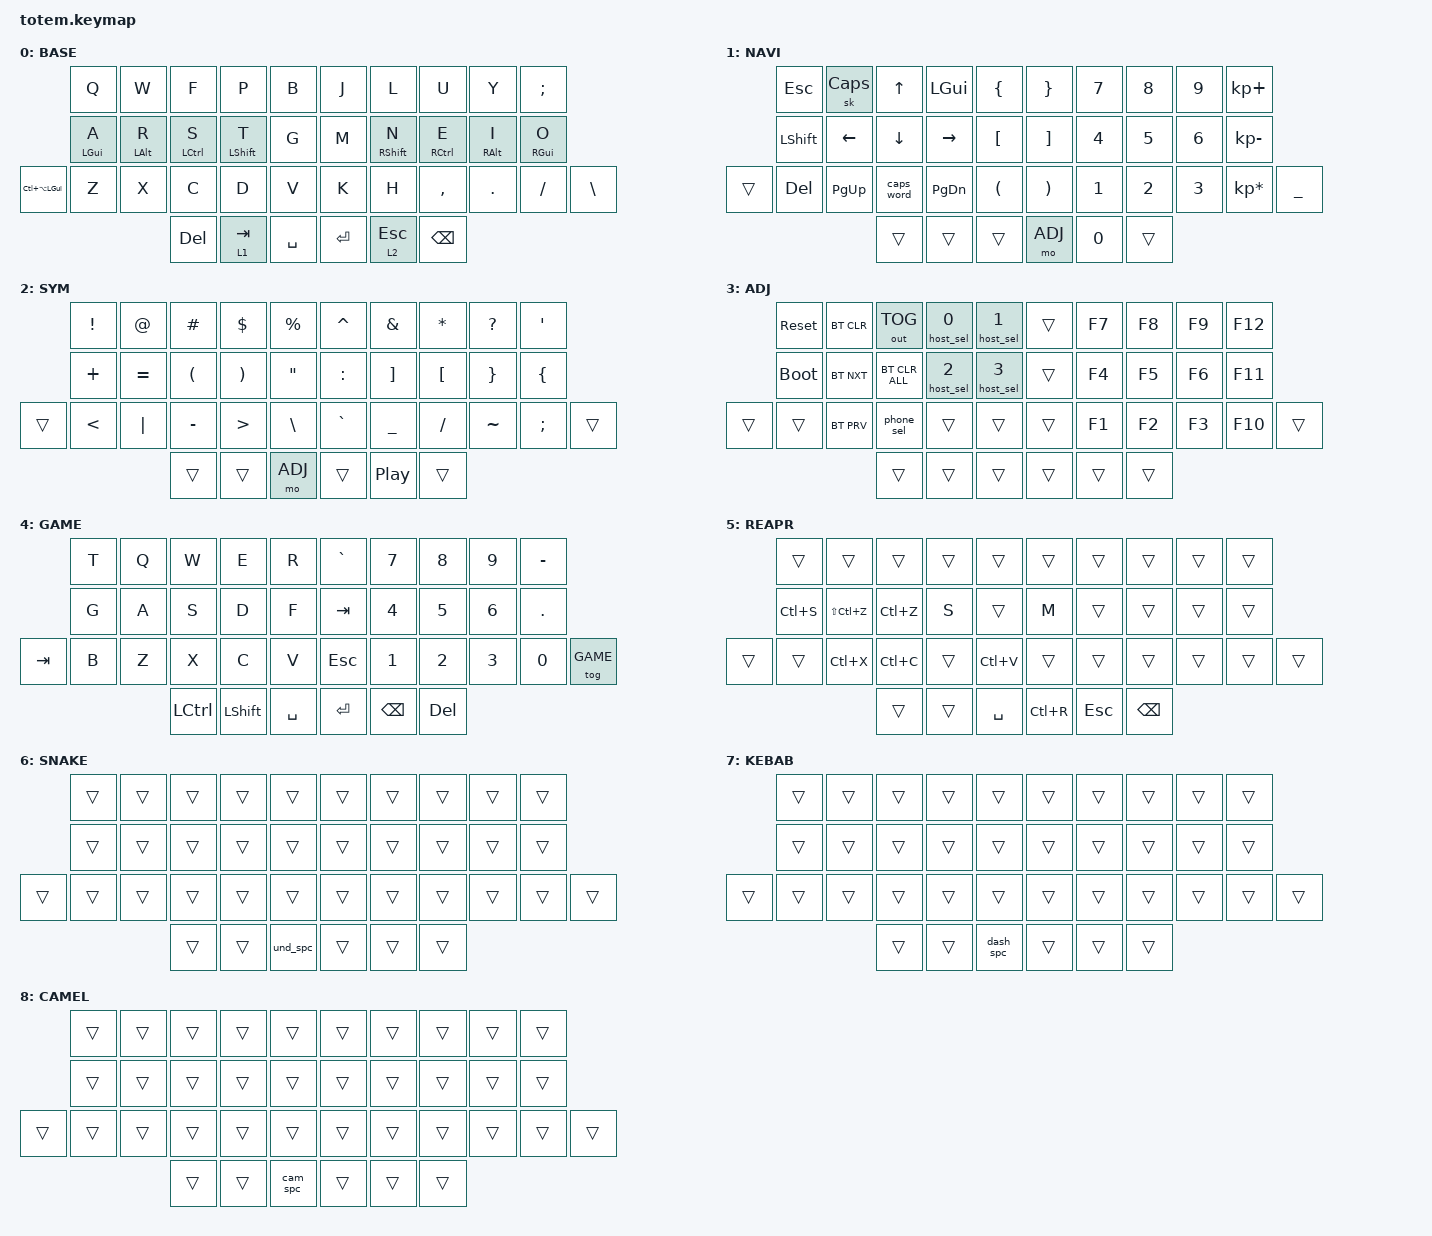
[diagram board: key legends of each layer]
//
//                                                        ▀▀▀▀▀     ▀▀▀▀▀          ▀▀█▀▀
//                                                        ▄▀▀▀▄  ▄  ▄▀▀▀▄  ▄  ▄▀▀▀▄  █  ▄▀▀▀▄
//                                                        █   █  █  █   █  █  █   █  █  █   █
//                                                         ▀▀▀   █   ▀▀▀   █   ▀▀▀   ▀   ▀▀▀
//                                                               █      ▄▄▄█▄▄▄    █   █  
//                                                               ▀      █  █  █     █▄█
//                                                             ▀▀▀▀▀    █  █  █      ▀
//                                                                      ▀  ▀  ▀
//
// ▄▄▄▄▄▄▄▄▄▄▄▄▄▄▄▄▄▄▄▄▄▄▄▄▄▄▄▄▄▄▄▄▄▄▄▄▄▄▄▄▄▄▄▄▄▄▄▄▄▄▄▄▄▄▄▄▄▄▄▄▄▄▄▄▄▄▄▄▄▄▄▄▄▄▄▄▄▄▄▄▄▄▄▄▄▄▄▄▄▄▄▄▄▄▄▄▄▄▄▄▄▄▄▄▄▄▄▄▄▄▄▄▄▄▄▄▄▄▄▄▄▄▄▄▄▄▄▄▄▄▄▄▄▄▄▄▄▄▄▄▄▄▄▄▄▄▄▄▄

#include <behaviors.dtsi>
#include <dt-bindings/zmk/bt.h>
#include <dt-bindings/zmk/keys.h>
#include <dt-bindings/zmk/outputs.h>
#include <dt-bindings/zmk/pointing.h>

#define BASE 0
#define NAV  1
#define SYM  2
#define ADJ  3
#define GAME 4
#define REAPER 5
#define SNAKE 6
#define KEBAB 7
#define CAMEL 8

// WMOD = Cmd+Ctrl+Alt held as one chord -- the macOS window-manager (AeroSpace)
// modifier. Shift is deliberately left OUT so WMOD+Shift stays a *distinct*
// combo: WMOD+n switches desktop, WMOD+Shift+n moves a window there -- the same
// super / super+shift split used on Hyprland. Cmd+Ctrl+Alt+<key> is effectively
// unused by macOS apps, unlike GUI/Cmd+number and Cmd+arrows which collide
// everywhere. Lives on the left outer pinky (base pos 20; &trans on
// NAV/SYM/ADJ so it falls through). LC/LA wrap the LGUI keycode -> Cmd+Ctrl+Alt
// all register while held. On Linux this reads as Super+Ctrl+Alt: free, and
// clear of the Ctrl+Alt+F# TTY-switch chords.
#define WMOD LC(LA(LGUI))

// Layer changes were once signalled to the desktop keymap-hud daemon in-band:
// the layer keys held F16/F17/F18 and the toggles tapped F20/F21 alongside the
// real behavior. Inert on macOS/Linux, but a host that *decodes* them turned
// every layer press into garbage (iOS/Termius renders F16 as ^P and F17 as ^Q,
// and ^Q is XON, so a stray SYM hold could freeze terminal output) -- which is
// what the PHONE override layer existed to dodge.
//
// All of that is gone. CONFIG_ZMK_BLE_LAYER_STATE (our ZMK fork) publishes the
// active/locked layer bitmasks on a GATT characteristic and the HUD reads them
// off BlueZ, so layer keys are plain &mo/&lt/&tog again and nothing leaks to
// the host. Only the HUD *toggle* still taps a key (F19, combo_hud below).
//
// Profile 4 is the phone; 0-3 are computers (see phone_sel/host_sel).
#define PHONE_PROFILE 4

&mt {
    quick-tap-ms = <100>;
    global-quick-tap;
    flavor = "tap-preferred";
    tapping-term-ms = <170>;
};

/ {
    behaviors {
        // Thumb layer-taps: tap = TAB/ESC, hold = momentary NAV/SYM. Kept as
        // explicit hold-taps rather than stock &lt so the feel stays exactly
        // where it was tuned (tap-preferred, 200ms) -- only the sentinel hold
        // that used to ride along with &mo is gone.
        lt_nav: layer_tap_nav {
            compatible = "zmk,behavior-hold-tap";
            #binding-cells = <2>;
            flavor = "tap-preferred";
            tapping-term-ms = <200>;
            bindings = <&mo>, <&kp>;
        };
        lt_sym: layer_tap_sym {
            compatible = "zmk,behavior-hold-tap";
            #binding-cells = <2>;
            flavor = "tap-preferred";
            tapping-term-ms = <200>;
            bindings = <&mo>, <&kp>;
        };

        // Case modes (zmk-auto-layer module): &smart_case <layer> turns a case
        // layer on and keeps it on only while "identifier" keys are typed --
        // alphas, digits, _ - and backspace/delete. Any other keycode (enter,
        // tab-tap, esc-tap, punctuation) drops back to BASE automatically, so
        // there is nothing to un-toggle. Holding NAV mid-identifier to type
        // digits is free now that layer keys emit no keycode at all, so the
        // mode survives it. On the case layers SPACE becomes the separator
        // (see the *_spc morphs); Shift+SPACE emits a real space, which also
        // ends the mode since SPACE is not in this list.
        smart_case: smart_case {
            compatible = "zmk,behavior-auto-layer";
            #binding-cells = <1>;
            continue-list = <UNDER MINUS BSPC DEL>;
            ignore-alphas;
            ignore-numbers;
            ignore-modifiers;
        };

        // caps_word tuned for SCREAMING_SNAKE: same continue rules as
        // smart_case (alphanumerics are implicit in caps-word) so it and the
        // snake layer always switch off on the same keypress.
        caps_snake: caps_snake {
            compatible = "zmk,behavior-caps-word";
            #binding-cells = <0>;
            continue-list = <UNDER MINUS BSPC DEL>;
        };

        // SPACE replacements for the case layers. Plain tap = the separator
        // (or a sticky shift for camelCase); with Shift held it morphs into a
        // real space, which both prints the space and exits the mode.
        und_spc: und_spc {
            compatible = "zmk,behavior-mod-morph";
            #binding-cells = <0>;
            bindings = <&kp UNDER>, <&kp SPACE>;
            mods = <(MOD_LSFT|MOD_RSFT)>;
        };
        dash_spc: dash_spc {
            compatible = "zmk,behavior-mod-morph";
            #binding-cells = <0>;
            bindings = <&kp MINUS>, <&kp SPACE>;
            mods = <(MOD_LSFT|MOD_RSFT)>;
        };
        cam_spc: cam_spc {
            compatible = "zmk,behavior-mod-morph";
            #binding-cells = <0>;
            bindings = <&sk LSHFT>, <&kp SPACE>;
            mods = <(MOD_LSFT|MOD_RSFT)>;
        };
    };

    macros {
        // Profile-select keys that also land the board back on BASE: &to BASE
        // clears a toggled GAME/REAPER, which is what you want when handing it
        // to a different machine anyway.
        phone_sel: phone_sel {
            compatible = "zmk,behavior-macro";
            #binding-cells = <0>;
            bindings = <&bt BT_SEL PHONE_PROFILE>, <&to BASE>;
        };
        // Also drops the phone's link on the way out. iOS hides the on-screen
        // keyboard for as long as *any* HID keyboard is connected, and merely
        // selecting another profile doesn't disconnect the old one -- so
        // without this the phone stays keyboard-less until you disconnect by
        // hand in Settings. BT_DISC only works on an *inactive* profile (the
        // active one reconnects immediately), hence the ordering: BT_SEL first
        // demotes the phone, then BT_DISC can take it down. Default macro
        // wait-ms (100) gives the switch time to land before the disconnect.
        host_sel: host_sel {
            compatible = "zmk,behavior-macro-one-param";
            #binding-cells = <1>;
            bindings = <&macro_param_1to2>,
                       <&macro_tap &bt BT_SEL MACRO_PLACEHOLDER>,
                       <&macro_tap &bt BT_DISC PHONE_PROFILE>,
                       <&macro_tap &to BASE>;
        };

        // Multi-character coding operators, fired from base-layer combos so they
        // don't need the SYM layer. Default 0ms macro timing is fine for &kp.
        pipe_arrow: pipe_arrow {   // |>  (Elixir pipe)
            compatible = "zmk,behavior-macro";
            #binding-cells = <0>;
            bindings = <&kp PIPE &kp GT>;
        };
        thin_arrow: thin_arrow {   // ->  (Elixir/Go)
            compatible = "zmk,behavior-macro";
            #binding-cells = <0>;
            bindings = <&kp MINUS &kp GT>;
        };
        fat_arrow: fat_arrow {     // =>  (Elixir maps)
            compatible = "zmk,behavior-macro";
            #binding-cells = <0>;
            bindings = <&kp EQUAL &kp GT>;
        };
        walrus: walrus {           // :=  (Go)
            compatible = "zmk,behavior-macro";
            #binding-cells = <0>;
            bindings = <&kp COLON &kp EQUAL>;
        };

        // SCREAMING_SNAKE = caps word + the snake layer at once. Both watch
        // the same continue-list, so one exit keypress ends both together.
        scream: scream {
            compatible = "zmk,behavior-macro";
            #binding-cells = <0>;
            bindings = <&caps_snake &smart_case SNAKE>;
        };

    };

    combos {
        compatible = "zmk,combos";

        // Mouse-click combos sit on adjacent top-row keys, which double as
        // gaming keys (W/E/R etc.), so they're scoped to everything *except*
        // GAME to avoid firing clicks mid-game.
        combo_lclk_l {
            timeout-ms = <20>;
            key-positions = <2 3>;
            bindings = <&mkp MB1>;
            layers = <BASE NAV SYM ADJ>;
        };

        combo_lclk_r {
            timeout-ms = <20>;
            key-positions = <6 7>;
            bindings = <&mkp MB1>;
            layers = <BASE NAV SYM ADJ>;
        };

        combo_rclk_l {
            timeout-ms = <20>;
            key-positions = <1 0>;
            bindings = <&mkp MB2>;
            layers = <BASE NAV SYM ADJ>;
        };

        combo_rclk_r {
            timeout-ms = <20>;
            key-positions = <8 9>;
            bindings = <&mkp MB2>;
            layers = <BASE NAV SYM ADJ>;
        };

        combo_mclk_l {
            bindings = <&mkp MB3>;
            key-positions = <2 1>;
            timeout-ms = <20>;
            layers = <BASE NAV SYM ADJ>;
        };

        combo_mclk_r {
            bindings = <&mkp MB3>;
            key-positions = <7 8>;
            timeout-ms = <20>;
            layers = <BASE NAV SYM ADJ>;
        };

        // Coding-operator combos, base layer only. Rare-letter key pairs keep
        // misfires near zero during normal typing.
        combo_pipe_arrow {   // K + H  ->  |>
            timeout-ms = <28>;
            key-positions = <26 27>;
            bindings = <&pipe_arrow>;
            layers = <0>;
        };
        combo_thin_arrow {   // , + .  ->  ->
            timeout-ms = <28>;
            key-positions = <28 29>;
            bindings = <&thin_arrow>;
            layers = <0>;
        };
        combo_walrus {       // C + D  ->  :=
            timeout-ms = <28>;
            key-positions = <23 24>;
            bindings = <&walrus>;
            layers = <0>;
        };
        combo_fat_arrow {    // Z + X  ->  =>
            timeout-ms = <28>;
            key-positions = <21 22>;
            bindings = <&fat_arrow>;
            layers = <0>;
        };

        // Case-mode chords. The two everyday modes sit on deliberate two-handed
        // inner-column pairs (like B+J for REAPER, so they never misfire); the
        // two rarer ones ride one-handed rare-letter pairs like the operator
        // combos above. Listed on the case layers too so you can jump straight
        // from one mode to another mid-identifier.
        combo_snake {        // V + K (bottom inner)  ->  snake_case
            timeout-ms = <40>;
            key-positions = <25 26>;
            bindings = <&smart_case SNAKE>;
            layers = <BASE SNAKE KEBAB CAMEL>;
        };
        combo_kebab {        // G + M (home inner)    ->  kebab-case
            timeout-ms = <40>;
            key-positions = <14 15>;
            bindings = <&smart_case KEBAB>;
            layers = <BASE SNAKE KEBAB CAMEL>;
        };
        combo_camel {        // X + C                 ->  camelCase
            timeout-ms = <28>;
            key-positions = <22 23>;
            bindings = <&smart_case CAMEL>;
            layers = <BASE SNAKE KEBAB CAMEL>;
        };
        combo_scream {       // H + ,                 ->  SCREAMING_SNAKE
            timeout-ms = <28>;
            key-positions = <27 28>;
            bindings = <&scream>;
            layers = <BASE SNAKE KEBAB CAMEL>;
        };

        // Both outer pinkies (bottom row, opposite halves) -> toggle keymap HUD.
        // Sends F19: an inert key on Linux and macOS that the host HUD listens
        // for (swallow it in your terminal: ghostty keybind = f19=ignore).
        // The last in-band HUD signal, now that layers ride BLE. No `layers`
        // restriction so it works from any layer; wide timeout since it's a
        // deliberate two-handed chord, not a roll.
        combo_hud {          // pos 20 + 31  ->  F19 (HUD toggle)
            timeout-ms = <50>;
            key-positions = <20 31>;
            bindings = <&kp F19>;
        };

        // Both top outer corners (Q + ;) -> toggle the GAME layer on/off.
        // A deliberate two-handed chord so it never misfires during one-handed
        // gaming, yet still reaches you to switch back off. No `layers`
        // restriction so it works from any layer, including GAME itself.
        combo_game {         // pos 0 + 9  ->  toggle GAME layer
            timeout-ms = <50>;
            key-positions = <0 9>;
            bindings = <&tog GAME>;
        };

        // Both inner top keys (B + J) -> toggle the REAPER app layer.
        // Two-handed and on rare-adjacent letters, so
        // it won't misfire while typing. No `layers` restriction, so the same
        // chord both enters REAPER and exits it.
        combo_reaper {       // pos 4 + 5  ->  toggle REAPER layer
            timeout-ms = <45>;
            key-positions = <4 5>;
            bindings = <&tog REAPER>;
        };
    };

    keymap {
        compatible = "zmk,keymap";

        // ▄▄▄▄▄▄▄▄▄▄▄▄▄▄▄▄▄▄▄▄▄▄▄▄▄▄▄▄▄▄▄▄▄▄▄▄▄▄▄▄▄▄▄▄▄▄▄▄▄▄▄▄▄▄▄▄▄▄▄▄▄▄▄▄▄▄▄▄▄▄▄▄▄▄▄▄▄▄▄▄▄▄▄▄▄▄▄▄▄▄▄▄▄▄▄▄▄▄▄▄▄▄▄▄▄▄▄▄▄▄▄▄▄▄▄▄▄▄▄▄▄▄▄▄▄▄▄▄▄▄▄▄▄▄▄▄▄▄▄▄▄▄▄▄▄▄▄▄▄

        base_layer {
            // ┏━━━━━━━━━━━━━━━━━━━━━━━━━━━━━━━━━━━━━━━┓

            display-name = "BASE";

            // ┗━━━━━━━━━━━━━━━━━━━━━━━━━━━━━━━━━━━━━━━┛
            //             ┏━━━━━━━━━━━┳━━━━━━━━━━━┳━━━━━━━━━━━┳━━━━━━━━━━━┳━━━━━━━━━━━┓   ┏━━━━━━━━━━━┳━━━━━━━━━━━┳━━━━━━━━━━━┳━━━━━━━━━━━┳━━━━━━━━━━━┓
            //             ┃     Q     ┃     W     ┃     F     ┃     P     ┃     B     ┃   ┃     J     ┃     L     ┃     U     ┃     Y     ┃     ;     ┃
            //             ┣━━━━━━━━━━━╋━━━━━━━━━━━╋━━━━━━━━━━━╋━━━━━━━━━━━╋━━━━━━━━━━━┫   ┣━━━━━━━━━━━╋━━━━━━━━━━━╋━━━━━━━━━━━╋━━━━━━━━━━━╋━━━━━━━━━━━┫
            //             ┃     A     ┃     R     ┃     S     ┃     T     ┃     G     ┃   ┃     M     ┃     N     ┃     E     ┃     I     ┃     O     ┃
            // ┏━━━━━━━━━━━╋━━━━━━━━━━━╋━━━━━━━━━━━╋━━━━━━━━━━━╋━━━━━━━━━━━╋━━━━━━━━━━━┫   ┣━━━━━━━━━━━╋━━━━━━━━━━━╋━━━━━━━━━━━╋━━━━━━━━━━━╋━━━━━━━━━━━╋━━━━━━━━━━━┓
            // ┃     Q     ┃     Z     ┃     X     ┃     C     ┃     D     ┃     V     ┃   ┃     K     ┃     H     ┃     ,     ┃     .     ┃     /     ┃     \     ┃
            // ┗━━━━━━━━━━━┻━━━━━━━━━━━┻━━━━━━━━━━━╋━━━━━━━━━━━╋━━━━━━━━━━━╋━━━━━━━━━━━┫   ┣━━━━━━━━━━━╋━━━━━━━━━━━╋━━━━━━━━━━━╋━━━━━━━━━━━┻━━━━━━━━━━━┻━━━━━━━━━━━┛
            //                                     ┃    DEL    ┃    TAB    ┃    SPC    ┃   ┃   ENTER   ┃           ┃   BSPC    ┃
            //                                     ┗━━━━━━━━━━━┻━━━━━━━━━━━┻━━━━━━━━━━━┛   ┗━━━━━━━━━━━┻━━━━━━━━━━━┻━━━━━━━━━━━┛

            bindings = <
              &kp Q       &kp W       &kp F        &kp P        &kp B        &kp J    &kp L        &kp U        &kp Y       &kp SEMI
              &mt LGUI A  &mt LALT R  &mt LCTRL S  &mt LSHFT T  &kp G        &kp M    &mt RSHFT N  &mt RCTRL E  &mt RALT I  &mt RGUI O
&kp WMOD      &kp Z       &kp X       &kp C        &kp D        &kp V        &kp K    &kp H        &kp COMMA    &kp DOT     &kp FSLH    &kp BSLH
                                      &kp DEL      &lt_nav 1 TAB  &kp SPACE  &kp RET  &lt_sym 2 ESC  &kp BSPC
            >;
        };

        // ▄▄▄▄▄▄▄▄▄▄▄▄▄▄▄▄▄▄▄▄▄▄▄▄▄▄▄▄▄▄▄▄▄▄▄▄▄▄▄▄▄▄▄▄▄▄▄▄▄▄▄▄▄▄▄▄▄▄▄▄▄▄▄▄▄▄▄▄▄▄▄▄▄▄▄▄▄▄▄▄▄▄▄▄▄▄▄▄▄▄▄▄▄▄▄▄▄▄▄▄▄▄▄▄▄▄▄▄▄▄▄▄▄▄▄▄▄▄▄▄▄▄▄▄▄▄▄▄▄▄▄▄▄▄▄▄▄▄▄▄▄▄▄▄▄▄▄▄▄

        nav_layer {
            // ┏━━━━━━━━━━━━━━━━━━━━━━━━━━━━━━━━━━━━━━━┓

            display-name = "NAVI";

            // ┗━━━━━━━━━━━━━━━━━━━━━━━━━━━━━━━━━━━━━━━┛
            //             ┏━━━━━━━━━━━┳━━━━━━━━━━━┳━━━━━━━━━━━┳━━━━━━━━━━━┳━━━━━━━━━━━┓   ┏━━━━━━━━━━━┳━━━━━━━━━━━┳━━━━━━━━━━━┳━━━━━━━━━━━┳━━━━━━━━━━━┓
            //             ┃    ESC    ┃    CLCK   ┃     UP    ┃   SUPER   ┃     {     ┃   ┃     }     ┃     7     ┃     8     ┃     9     ┃     +     ┃
            //             ┣━━━━━━━━━━━╋━━━━━━━━━━━╋━━━━━━━━━━━╋━━━━━━━━━━━╋━━━━━━━━━━━┫   ┣━━━━━━━━━━━╋━━━━━━━━━━━╋━━━━━━━━━━━╋━━━━━━━━━━━╋━━━━━━━━━━━┫
            //             ┃   SHIFT   ┃   LEFT    ┃    DOWN   ┃   RIGHT   ┃     [     ┃   ┃     ]     ┃     4     ┃     5     ┃     6     ┃     -     ┃
            // ┏━━━━━━━━━━━╋━━━━━━━━━━━╋━━━━━━━━━━━╋━━━━━━━━━━━╋━━━━━━━━━━━╋━━━━━━━━━━━┫   ┣━━━━━━━━━━━╋━━━━━━━━━━━╋━━━━━━━━━━━╋━━━━━━━━━━━╋━━━━━━━━━━━╋━━━━━━━━━━━┓
            // ┃           ┃    DEL    ┃    P UP   ┃   CWORD   ┃    P DN   ┃     (     ┃   ┃     )     ┃     1     ┃     2     ┃     3     ┃     *     ┃     _     ┃
            // ┗━━━━━━━━━━━┻━━━━━━━━━━━┻━━━━━━━━━━━╋━━━━━━━━━━━╋━━━━━━━━━━━╋━━━━━━━━━━━┫   ┣━━━━━━━━━━━╋━━━━━━━━━━━╋━━━━━━━━━━━╋━━━━━━━━━━━┻━━━━━━━━━━━┻━━━━━━━━━━━┛
            //                                     ┃    DEL    ┃    TAB    ┃    SPC    ┃   ┃    ADJ    ┃     0     ┃    BSPC   ┃
            //                                     ┗━━━━━━━━━━━┻━━━━━━━━━━━┻━━━━━━━━━━━┛   ┗━━━━━━━━━━━┻━━━━━━━━━━━┻━━━━━━━━━━━┛

            bindings = <
        &kp ESC    &sk CLCK   &kp UP      &kp LGUI   &kp LBRC    &kp RBRC  &kp N7     &kp N8     &kp N9     &kp KP_PLUS
        &kp LSHFT  &kp LEFT   &kp DOWN    &kp RIGHT  &kp LBKT    &kp RBKT  &kp N4     &kp N5     &kp N6     &kp KP_MINUS
&trans  &kp DEL    &kp PG_UP  &caps_word  &kp PG_DN  &kp LPAR    &kp RPAR  &kp N1     &kp N2     &kp N3     &kp KP_MULTIPLY  &kp UNDER
                              &trans      &trans     &trans      &mo ADJ   &kp N0     &trans
            >;
        };

        // ▄▄▄▄▄▄▄▄▄▄▄▄▄▄▄▄▄▄▄▄▄▄▄▄▄▄▄▄▄▄▄▄▄▄▄▄▄▄▄▄▄▄▄▄▄▄▄▄▄▄▄▄▄▄▄▄▄▄▄▄▄▄▄▄▄▄▄▄▄▄▄▄▄▄▄▄▄▄▄▄▄▄▄▄▄▄▄▄▄▄▄▄▄▄▄▄▄▄▄▄▄▄▄▄▄▄▄▄▄▄▄▄▄▄▄▄▄▄▄▄▄▄▄▄▄▄▄▄▄▄▄▄▄▄▄▄▄▄▄▄▄▄▄▄▄▄▄▄▄

        sim_layer {
            // ┏━━━━━━━━━━━━━━━━━━━━━━━━━━━━━━━━━━━━━━━┓

            display-name = "SYM";

            // ┗━━━━━━━━━━━━━━━━━━━━━━━━━━━━━━━━━━━━━━━┛
            //             ┏━━━━━━━━━━━┳━━━━━━━━━━━┳━━━━━━━━━━━┳━━━━━━━━━━━┳━━━━━━━━━━━┓   ┏━━━━━━━━━━━┳━━━━━━━━━━━┳━━━━━━━━━━━┳━━━━━━━━━━━┳━━━━━━━━━━━┓
            //             ┃     !     ┃     @     ┃     #     ┃     $     ┃     %     ┃   ┃     ˆ     ┃     &     ┃     *     ┃     ?     ┃     '     ┃
            //             ┣━━━━━━━━━━━╋━━━━━━━━━━━╋━━━━━━━━━━━╋━━━━━━━━━━━╋━━━━━━━━━━━┫   ┣━━━━━━━━━━━╋━━━━━━━━━━━╋━━━━━━━━━━━╋━━━━━━━━━━━╋━━━━━━━━━━━┫
            //             ┃     +     ┃     =     ┃     (     ┃     )     ┃     "     ┃   ┃     :     ┃     ]     ┃     [     ┃     }     ┃     {     ┃
            // ┏━━━━━━━━━━━╋━━━━━━━━━━━╋━━━━━━━━━━━╋━━━━━━━━━━━╋━━━━━━━━━━━╋━━━━━━━━━━━┫   ┣━━━━━━━━━━━╋━━━━━━━━━━━╋━━━━━━━━━━━╋━━━━━━━━━━━╋━━━━━━━━━━━╋━━━━━━━━━━━┓
            // ┃           ┃     <     ┃     |     ┃     -     ┃     >     ┃     \     ┃   ┃     `     ┃     _     ┃     /     ┃     ~     ┃     ;     ┃           ┃
            // ┗━━━━━━━━━━━┻━━━━━━━━━━━┻━━━━━━━━━━━╋━━━━━━━━━━━╋━━━━━━━━━━━╋━━━━━━━━━━━┫   ┣━━━━━━━━━━━╋━━━━━━━━━━━╋━━━━━━━━━━━╋━━━━━━━━━━━┻━━━━━━━━━━━┻━━━━━━━━━━━┛
            //                                     ┃    DEL    ┃    TAB    ┃    ADJ    ┃   ┃    RET    ┃    PLAY   ┃    BSPC   ┃
            //                                     ┗━━━━━━━━━━━┻━━━━━━━━━━━┻━━━━━━━━━━━┛   ┗━━━━━━━━━━━┻━━━━━━━━━━━┻━━━━━━━━━━━┛

            bindings = <
        &kp EXCL  &kp AT     &kp HASH   &kp DLLR  &kp PRCNT    &kp CARET  &kp AMPS   &kp STAR   &kp QMARK  &kp SQT
        &kp PLUS  &kp EQUAL  &kp LPAR   &kp RPAR  &kp DQT      &kp COLON  &kp RBKT   &kp LBKT   &kp RBRC   &kp LBRC
&trans  &kp LT    &kp PIPE   &kp MINUS  &kp GT    &kp BSLH     &kp GRAVE  &kp UNDER  &kp SLASH  &kp TILDE  &kp SEMI  &trans
                             &trans     &trans    &mo ADJ      &trans     &kp C_PP   &trans
            >;
        };

        // ▄▄▄▄▄▄▄▄▄▄▄▄▄▄▄▄▄▄▄▄▄▄▄▄▄▄▄▄▄▄▄▄▄▄▄▄▄▄▄▄▄▄▄▄▄▄▄▄▄▄▄▄▄▄▄▄▄▄▄▄▄▄▄▄▄▄▄▄▄▄▄▄▄▄▄▄▄▄▄▄▄▄▄▄▄▄▄▄▄▄▄▄▄▄▄▄▄▄▄▄▄▄▄▄▄▄▄▄▄▄▄▄▄▄▄▄▄▄▄▄▄▄▄▄▄▄▄▄▄▄▄▄▄▄▄▄▄▄▄▄▄▄▄▄▄▄▄▄▄

        adjust_layer {
            // ┏━━━━━━━━━━━━━━━━━━━━━━━━━━━━━━━━━━━━━━━┓

            display-name = "ADJ";

            // ┗━━━━━━━━━━━━━━━━━━━━━━━━━━━━━━━━━━━━━━━┛
            //             ┏━━━━━━━━━━━┳━━━━━━━━━━━┳━━━━━━━━━━━┳━━━━━━━━━━━┳━━━━━━━━━━━┓   ┏━━━━━━━━━━━┳━━━━━━━━━━━┳━━━━━━━━━━━┳━━━━━━━━━━━┳━━━━━━━━━━━┓
            //             ┃   RESET   ┃ BT CLEAR  ┃  OUT TOG  ┃   SEL 0   ┃   SEL 1   ┃   ┃           ┃    F7     ┃    F8     ┃    F9     ┃    F12    ┃
            //             ┣━━━━━━━━━━━╋━━━━━━━━━━━╋━━━━━━━━━━━╋━━━━━━━━━━━╋━━━━━━━━━━━┫   ┣━━━━━━━━━━━╋━━━━━━━━━━━╋━━━━━━━━━━━╋━━━━━━━━━━━╋━━━━━━━━━━━┫
            //             ┃ BOOTLOAD  ┃ BT NEXT   ┃  CLR ALL  ┃   SEL 2   ┃   SEL 3   ┃   ┃           ┃    F4     ┃    F5     ┃    F6     ┃    F11    ┃
            // ┏━━━━━━━━━━━╋━━━━━━━━━━━╋━━━━━━━━━━━╋━━━━━━━━━━━╋━━━━━━━━━━━╋━━━━━━━━━━━┫   ┣━━━━━━━━━━━╋━━━━━━━━━━━╋━━━━━━━━━━━╋━━━━━━━━━━━╋━━━━━━━━━━━╋━━━━━━━━━━━┓
            // ┃           ┃           ┃ BT PREV   ┃   SEL 4   ┃           ┃           ┃   ┃           ┃    F1     ┃    F2     ┃    F3     ┃    F10    ┃           ┃
            // ┗━━━━━━━━━━━┻━━━━━━━━━━━┻━━━━━━━━━━━╋━━━━━━━━━━━╋━━━━━━━━━━━╋━━━━━━━━━━━┫   ┣━━━━━━━━━━━╋━━━━━━━━━━━╋━━━━━━━━━━━╋━━━━━━━━━━━┻━━━━━━━━━━━┻━━━━━━━━━━━┛
            //                                     ┃           ┃           ┃           ┃   ┃           ┃           ┃           ┃
            //                                     ┗━━━━━━━━━━━┻━━━━━━━━━━━┻━━━━━━━━━━━┛   ┗━━━━━━━━━━━┻━━━━━━━━━━━┻━━━━━━━━━━━┛

            bindings = <
        &sys_reset   &bt BT_CLR  &out OUT_TOG    &host_sel 0   &host_sel 1     &trans  &kp F7  &kp F8  &kp F9  &kp F12
        &bootloader  &bt BT_NXT  &bt BT_CLR_ALL  &host_sel 2   &host_sel 3     &trans  &kp F4  &kp F5  &kp F6  &kp F11
&trans  &trans       &bt BT_PRV  &phone_sel      &trans        &trans          &trans  &kp F1  &kp F2  &kp F3  &kp F10  &trans
                                 &trans        &trans  &trans    &trans  &trans  &trans
            >;
        };

        // ▄▄▄▄▄▄▄▄▄▄▄▄▄▄▄▄▄▄▄▄▄▄▄▄▄▄▄▄▄▄▄▄▄▄▄▄▄▄▄▄▄▄▄▄▄▄▄▄▄▄▄▄▄▄▄▄▄▄▄▄▄▄▄▄▄▄▄▄▄▄▄▄▄▄▄▄▄▄▄▄▄▄▄▄▄▄▄▄▄▄▄▄▄▄▄▄▄▄▄▄▄▄▄▄▄▄▄▄▄▄▄▄▄▄▄▄▄▄▄▄▄▄▄▄▄▄▄▄▄▄▄▄▄▄▄▄▄▄▄▄▄▄▄▄▄▄▄▄▄

        game_layer {
            // ┏━━━━━━━━━━━━━━━━━━━━━━━━━━━━━━━━━━━━━━━┓

            display-name = "GAME";

            // ┗━━━━━━━━━━━━━━━━━━━━━━━━━━━━━━━━━━━━━━━┛
            // Left half = QWERTY WASD (plain keys, no home-row mods), shifted one
            // column right to suit the stagger so the pinky gets its own column;
            // T/G/B move to that freed pinky column since the index side has no
            // room. Right half = numpad (7-8-9 / 4-5-6 / 1-2-3 in the middle
            // columns, like NAV) plus menu/chat keys and GRV for the dev console.
            // Toggle on/off with the Q + ; corner combo or the &tog key.
            //             ┏━━━━━━━━━━━┳━━━━━━━━━━━┳━━━━━━━━━━━┳━━━━━━━━━━━┳━━━━━━━━━━━┓   ┏━━━━━━━━━━━┳━━━━━━━━━━━┳━━━━━━━━━━━┳━━━━━━━━━━━┳━━━━━━━━━━━┓
            //             ┃     T     ┃     Q     ┃     W     ┃     E     ┃     R     ┃   ┃     `     ┃     7     ┃     8     ┃     9     ┃     -     ┃
            //             ┣━━━━━━━━━━━╋━━━━━━━━━━━╋━━━━━━━━━━━╋━━━━━━━━━━━╋━━━━━━━━━━━┫   ┣━━━━━━━━━━━╋━━━━━━━━━━━╋━━━━━━━━━━━╋━━━━━━━━━━━╋━━━━━━━━━━━┫
            //             ┃     G     ┃     A     ┃     S     ┃     D     ┃     F     ┃   ┃    TAB    ┃     4     ┃     5     ┃     6     ┃     .     ┃
            // ┏━━━━━━━━━━━╋━━━━━━━━━━━╋━━━━━━━━━━━╋━━━━━━━━━━━╋━━━━━━━━━━━╋━━━━━━━━━━━┫   ┣━━━━━━━━━━━╋━━━━━━━━━━━╋━━━━━━━━━━━╋━━━━━━━━━━━╋━━━━━━━━━━━╋━━━━━━━━━━━┓
            // ┃    TAB    ┃     B     ┃     Z     ┃     X     ┃     C     ┃     V     ┃   ┃    ESC    ┃     1     ┃     2     ┃     3     ┃     0     ┃   GAME    ┃
            // ┗━━━━━━━━━━━┻━━━━━━━━━━━┻━━━━━━━━━━━╋━━━━━━━━━━━╋━━━━━━━━━━━╋━━━━━━━━━━━┫   ┣━━━━━━━━━━━╋━━━━━━━━━━━╋━━━━━━━━━━━╋━━━━━━━━━━━┻━━━━━━━━━━━┻━━━━━━━━━━━┛
            //                                     ┃   CTRL    ┃   SHIFT   ┃    SPC    ┃   ┃   ENTER   ┃   BSPC    ┃    DEL    ┃
            //                                     ┗━━━━━━━━━━━┻━━━━━━━━━━━┻━━━━━━━━━━━┛   ┗━━━━━━━━━━━┻━━━━━━━━━━━┻━━━━━━━━━━━┛

            bindings = <
              &kp T       &kp Q       &kp W        &kp E        &kp R        &kp GRAVE  &kp N7     &kp N8     &kp N9      &kp MINUS
              &kp G       &kp A       &kp S        &kp D        &kp F        &kp TAB    &kp N4     &kp N5     &kp N6      &kp DOT
&kp TAB       &kp B       &kp Z       &kp X        &kp C        &kp V        &kp ESC    &kp N1     &kp N2     &kp N3      &kp N0     &tog GAME
                                      &kp LCTRL    &kp LSHFT    &kp SPACE    &kp RET    &kp BSPC   &kp DEL
            >;
        };

        // ▄▄▄▄▄▄▄▄▄▄▄▄▄▄▄▄▄▄▄▄▄▄▄▄▄▄▄▄▄▄▄▄▄▄▄▄▄▄▄▄▄▄▄▄▄▄▄▄▄▄▄▄▄▄▄▄▄▄▄▄▄▄▄▄▄▄▄▄▄▄▄▄▄▄▄▄▄▄▄▄▄▄▄▄▄▄▄▄▄▄▄▄▄▄▄▄▄▄▄▄▄▄▄▄▄▄▄▄▄▄▄▄▄▄▄▄▄▄▄▄▄▄▄▄▄▄▄▄▄▄▄▄▄▄▄▄▄▄▄▄▄▄▄▄▄▄▄▄▄

        reaper_layer {
            // ┏━━━━━━━━━━━━━━━━━━━━━━━━━━━━━━━━━━━━━━━┓

            display-name = "REAPR";

            // ┗━━━━━━━━━━━━━━━━━━━━━━━━━━━━━━━━━━━━━━━┛
            // A starter REAPER layer. Reach/leave it with the B+J combo
            // (combo_reaper). The left hand carries OS-standard edit chords that
            // Reaper honours no matter your config (Save/Undo/Redo/Cut/Copy/
            // Paste); the right hand + thumbs carry Reaper transport/edit
            // actions. The latter use Reaper *defaults* — verify or rebind them
            // in Reaper's Actions list (Actions > Show action list) to taste.
            // Everything else is &trans (falls through to BASE). Tune freely.
            //             ┏━━━━━━━━━━━┳━━━━━━━━━━━┳━━━━━━━━━━━┳━━━━━━━━━━━┳━━━━━━━━━━━┓   ┏━━━━━━━━━━━┳━━━━━━━━━━━┳━━━━━━━━━━━┳━━━━━━━━━━━┳━━━━━━━━━━━┓
            //             ┃           ┃           ┃           ┃           ┃           ┃   ┃           ┃           ┃           ┃           ┃           ┃
            //             ┣━━━━━━━━━━━╋━━━━━━━━━━━╋━━━━━━━━━━━╋━━━━━━━━━━━╋━━━━━━━━━━━┫   ┣━━━━━━━━━━━╋━━━━━━━━━━━╋━━━━━━━━━━━╋━━━━━━━━━━━╋━━━━━━━━━━━┫
            //             ┃   SAVE    ┃   REDO    ┃   UNDO    ┃   SPLIT   ┃           ┃   ┃   MARK    ┃           ┃           ┃           ┃           ┃
            // ┏━━━━━━━━━━━╋━━━━━━━━━━━╋━━━━━━━━━━━╋━━━━━━━━━━━╋━━━━━━━━━━━╋━━━━━━━━━━━┫   ┣━━━━━━━━━━━╋━━━━━━━━━━━╋━━━━━━━━━━━╋━━━━━━━━━━━╋━━━━━━━━━━━╋━━━━━━━━━━━┓
            // ┃           ┃           ┃    CUT    ┃   COPY    ┃           ┃   PASTE   ┃   ┃           ┃           ┃           ┃           ┃           ┃           ┃
            // ┗━━━━━━━━━━━┻━━━━━━━━━━━┻━━━━━━━━━━━╋━━━━━━━━━━━╋━━━━━━━━━━━╋━━━━━━━━━━━┫   ┣━━━━━━━━━━━╋━━━━━━━━━━━╋━━━━━━━━━━━╋━━━━━━━━━━━┻━━━━━━━━━━━┻━━━━━━━━━━━┛
            //                                     ┃           ┃           ┃   PLAY    ┃   ┃    REC    ┃    ESC    ┃   BSPC    ┃
            //                                     ┗━━━━━━━━━━━┻━━━━━━━━━━━┻━━━━━━━━━━━┛   ┗━━━━━━━━━━━┻━━━━━━━━━━━┻━━━━━━━━━━━┛

            bindings = <
              &trans      &trans       &trans       &trans       &trans         &trans   &trans     &trans       &trans     &trans
              &kp LC(S)   &kp LS(LC(Z)) &kp LC(Z)   &kp S        &trans         &kp M    &trans     &trans       &trans     &trans
&trans        &trans      &kp LC(X)    &kp LC(C)    &trans       &kp LC(V)      &trans   &trans     &trans       &trans     &trans    &trans
                                       &trans       &trans       &kp SPACE      &kp LC(R) &kp ESC   &kp BSPC
            >;
        };

        // ▄▄▄▄▄▄▄▄▄▄▄▄▄▄▄▄▄▄▄▄▄▄▄▄▄▄▄▄▄▄▄▄▄▄▄▄▄▄▄▄▄▄▄▄▄▄▄▄▄▄▄▄▄▄▄▄▄▄▄▄▄▄▄▄▄▄▄▄▄▄▄▄▄▄▄▄▄▄▄▄▄▄▄▄▄▄▄▄▄▄▄▄▄▄▄▄▄▄▄▄▄▄▄▄▄▄▄▄▄▄▄▄▄▄▄▄▄▄▄▄▄▄▄▄▄▄▄▄▄▄▄▄▄▄▄▄▄▄▄▄▄▄▄▄▄▄▄▄▄

        // Case-mode layers: identical to BASE except SPACE, which becomes the
        // word separator (or a sticky shift for camelCase). Entered via the
        // smart_case combos; they exit on their own -- see the smart_case
        // behavior note. HRMs still work since every key falls through.

        snake_layer {
            display-name = "SNAKE";
            bindings = <
              &trans      &trans      &trans       &trans       &trans       &trans   &trans       &trans       &trans      &trans
              &trans      &trans      &trans       &trans       &trans       &trans   &trans       &trans       &trans      &trans
&trans        &trans      &trans      &trans       &trans       &trans       &trans   &trans       &trans       &trans      &trans      &trans
                                      &trans       &trans       &und_spc     &trans   &trans       &trans
            >;
        };

        kebab_layer {
            display-name = "KEBAB";
            bindings = <
              &trans      &trans      &trans       &trans       &trans       &trans   &trans       &trans       &trans      &trans
              &trans      &trans      &trans       &trans       &trans       &trans   &trans       &trans       &trans      &trans
&trans        &trans      &trans      &trans       &trans       &trans       &trans   &trans       &trans       &trans      &trans      &trans
                                      &trans       &trans       &dash_spc    &trans   &trans       &trans
            >;
        };

        camel_layer {
            display-name = "CAMEL";
            bindings = <
              &trans      &trans      &trans       &trans       &trans       &trans   &trans       &trans       &trans      &trans
              &trans      &trans      &trans       &trans       &trans       &trans   &trans       &trans       &trans      &trans
&trans        &trans      &trans      &trans       &trans       &trans       &trans   &trans       &trans       &trans      &trans      &trans
                                      &trans       &trans       &cam_spc     &trans   &trans       &trans
            >;
        };

        // ▄▄▄▄▄▄▄▄▄▄▄▄▄▄▄▄▄▄▄▄▄▄▄▄▄▄▄▄▄▄▄▄▄▄▄▄▄▄▄▄▄▄▄▄▄▄▄▄▄▄▄▄▄▄▄▄▄▄▄▄▄▄▄▄▄▄▄▄▄▄▄▄▄▄▄▄▄▄▄▄▄▄▄▄▄▄▄▄▄▄▄▄▄▄▄▄▄▄▄▄▄▄▄▄▄▄▄▄▄▄▄▄▄▄▄▄▄▄▄▄▄▄▄▄▄▄▄▄▄▄▄▄▄▄▄▄▄▄▄▄▄▄▄▄▄▄▄▄▄

        // ▄▄▄▄▄▄▄▄▄▄▄▄▄▄▄▄▄▄▄▄▄▄▄▄▄▄▄▄▄▄▄▄▄▄▄▄▄▄▄▄▄▄▄▄▄▄▄▄▄▄▄▄▄▄▄▄▄▄▄▄▄▄▄▄▄▄▄▄▄▄▄▄▄▄▄▄▄▄▄▄▄▄▄▄▄▄▄▄▄▄▄▄▄▄▄▄▄▄▄▄▄▄▄▄▄▄▄▄▄▄▄▄▄▄▄▄▄▄▄▄▄▄▄▄▄▄▄▄▄▄▄▄▄▄▄▄▄▄▄▄▄▄▄▄▄▄▄▄▄
    };
};
